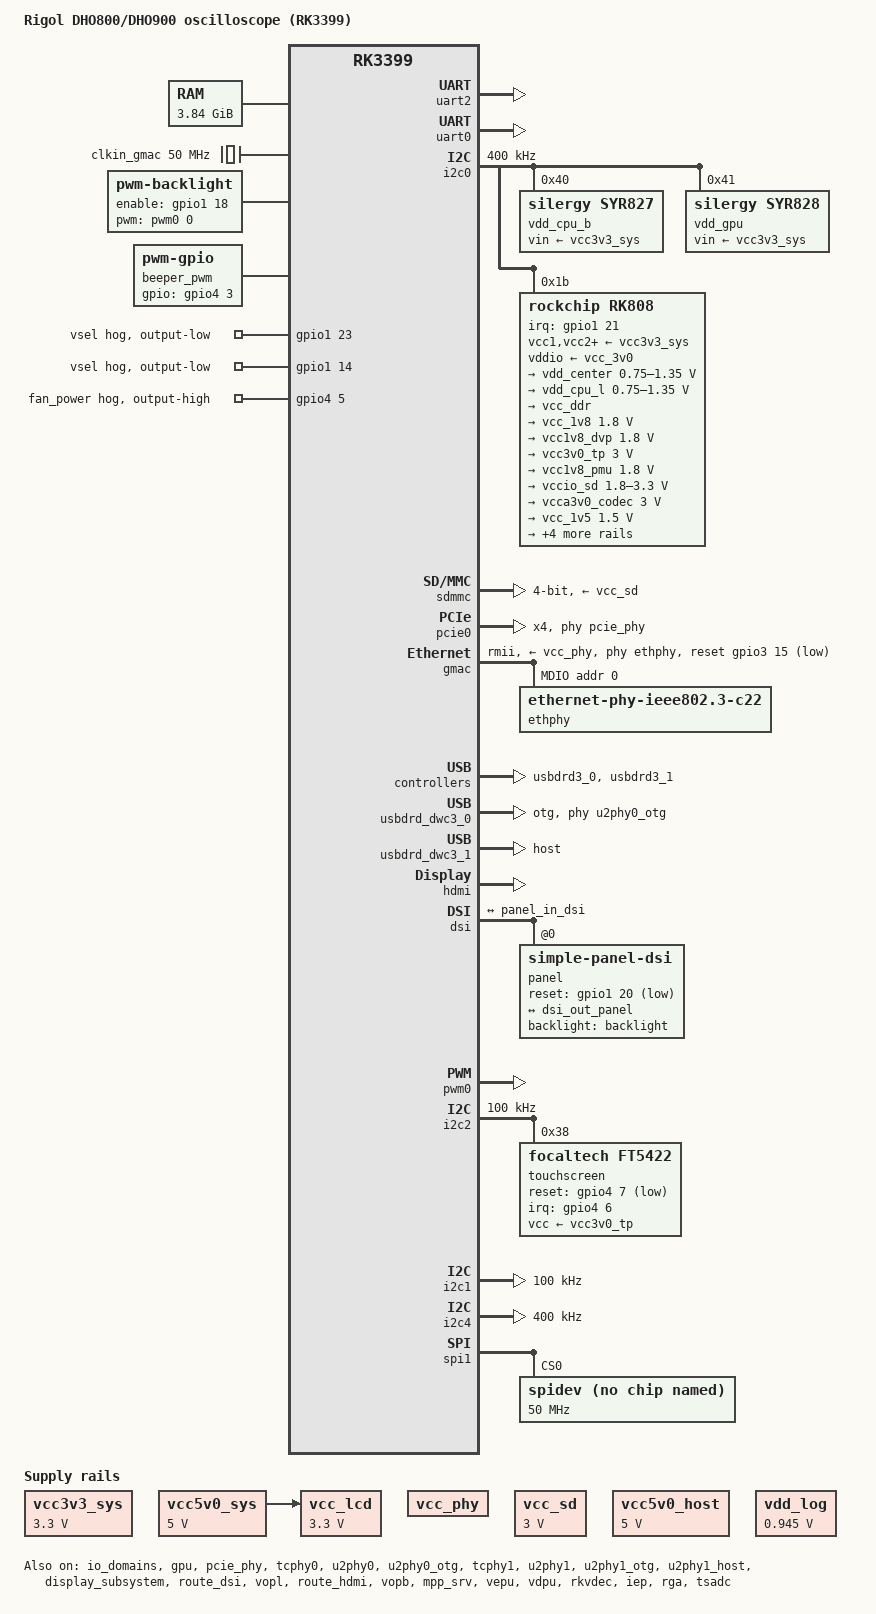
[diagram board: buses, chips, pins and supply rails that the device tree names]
// SPDX-License-Identifier: (GPL-2.0+ OR MIT)
/*
 * Rigol DHO800 / DHO900 oscilloscope board (Rockchip RK3399).
 *
 * Copyright (C) 2026 Olympian LED, Inc.
 *
 * GPIO pins are numbered within their bank (A0-A7 = 0-7, B0-B7 = 8-15, C0-C7 = 16-23,
 * D0-D7 = 24-31); in rockchip,pins, function 0 is GPIO.
 */

/dts-v1/;

#include <dt-bindings/gpio/gpio.h>
#include <dt-bindings/interrupt-controller/irq.h>
#include "rk3399.dtsi"
#include "rk3399-linux.dtsi"

/ {
	model = "Rigol DHO800/DHO900 oscilloscope (RK3399)";
	compatible = "rigol,dho900", "rockchip,rk3399";

	aliases {
		mmc0 = &sdmmc;
		mmc1 = &sdhci;

		spi1 = &spi1;
		spi2 = &spi2;
	};

	chosen {
		bootargs = "earlycon=uart8250,mmio32,0xff1a0000 console=ttyS2,115200n8 panic=10 rootwait";
		stdout-path = "serial2:115200n8";
	};

	memory {
		device_type = "memory";
		reg = <0x0 0x00200000 0x0 0x08200000>,
		      <0x0 0x0a200000 0x0 0xede00000>;
	};

	reserved-memory {
		trust_os: trust-os@8400000 {
			reg = <0x0 0x08400000 0x0 0x01e00000>;
			no-map;
		};

		ramoops@110000 {
			compatible = "ramoops";
			reg = <0x0 0x110000 0x0 0xe0000>;
			record-size = <0x20000>;
			console-size = <0x80000>;
			ftrace-size = <0x0>;
			pmsg-size = <0x40000>;
		};
	};

	vcc3v3_sys: vcc3v3-sys {
		compatible = "regulator-fixed";
		regulator-name = "vcc3v3_sys";
		regulator-always-on;
		regulator-boot-on;
		regulator-min-microvolt = <3300000>;
		regulator-max-microvolt = <3300000>;
	};

	vcc5v0_sys: vcc5v0-sys {
		compatible = "regulator-fixed";
		regulator-name = "vcc5v0_sys";
		regulator-always-on;
		regulator-boot-on;
		regulator-min-microvolt = <5000000>;
		regulator-max-microvolt = <5000000>;
	};

	vcc_phy: vcc-phy-regulator {
		compatible = "regulator-fixed";
		regulator-name = "vcc_phy";
		regulator-always-on;
		regulator-boot-on;
	};

	vcc_sd: vcc-sd {
		compatible = "regulator-fixed";
		regulator-name = "vcc_sd";
		regulator-always-on;
		regulator-boot-on;
		regulator-min-microvolt = <3000000>;
		regulator-max-microvolt = <3000000>;
	};

	vcc5v0_host: vcc5v0-host-regulator {
		compatible = "regulator-fixed";
		regulator-name = "vcc5v0_host";
		regulator-always-on;
		regulator-boot-on;
		regulator-min-microvolt = <5000000>;
		regulator-max-microvolt = <5000000>;
	};

	vcc_lcd: vcc-lcd {
		compatible = "regulator-fixed";
		regulator-name = "vcc_lcd";
		regulator-boot-on;
		regulator-min-microvolt = <3300000>;
		regulator-max-microvolt = <3300000>;
		startup-delay-us = <20000>;
		vin-supply = <&vcc5v0_sys>;
	};

	vdd_log: vdd-log {
		compatible = "regulator-fixed";
		regulator-name = "vdd_log";
		regulator-always-on;
		regulator-boot-on;
		regulator-min-microvolt = <945000>;
		regulator-max-microvolt = <945000>;
	};

	clkin_gmac: external-gmac-clock {
		compatible = "fixed-clock";
		clock-frequency = <50000000>;
		clock-output-names = "clkin_gmac";
		#clock-cells = <0>;
	};

	/* The panel backlight: PWM0, enable on GPIO1_C2. */
	backlight: backlight {
		compatible = "pwm-backlight";
		pwms = <&pwm0 0 25000 0>;
		brightness-levels = <0 255>;
		num-interpolated-steps = <255>;
		default-brightness-level = <255>;
		enable-gpios = <&gpio1 18 GPIO_ACTIVE_HIGH>;
	};

	/* The cooling fan is one on/off line, GPIO4_A5, held on by the fan-power hog (&gpio4). */
	fan: gpio-fan {
		compatible = "gpio-fan";
		gpios = <&gpio4 5 GPIO_ACTIVE_HIGH>;
		gpio-fan,speed-map = <0 0>, <3000 1>;
		#cooling-cells = <2>;
		status = "disabled";
	};

	/* The beeper: a software PWM on GPIO4_A3, driven from userspace through the PWM class. */
	beeper_pwm: pwm-gpio {
		compatible = "pwm-gpio";
		#pwm-cells = <3>;
		gpios = <&gpio4 3 GPIO_ACTIVE_HIGH>;
	};
};

&fiq_debugger {
	status = "disabled";
};

/* UART2: the console, 115200 8N1. */
&uart2 {
	status = "okay";
};

/* UART0: the front-panel controller (keys, knobs, LEDs, power-off). No CTS: GPIO2_C2 is PCIe PERST#. */
&uart0 {
	status = "okay";
};

&reboot_mode {
	/delete-property/ mode-panic;
	/delete-property/ mode-ums;
	mode-bootloader = <0x5242c301>;	/* the boot loader's download mode */
};

&cru {
	assigned-clocks =
		<&cru ACLK_PERIHP>, <&cru ACLK_PERILP0>,
		<&cru HCLK_PERILP1>, <&cru SCLK_SDMMC>,
		<&cru ACLK_EMMC>, <&cru ACLK_CENTER>,
		<&cru HCLK_SD>, <&cru SCLK_VDU_CA>,
		<&cru SCLK_VDU_CORE>, <&cru ACLK_USB3>,
		<&cru FCLK_CM0S>, <&cru ACLK_CCI>,
		<&cru PCLK_ALIVE>, <&cru ACLK_GMAC>,
		<&cru SCLK_CS>, <&cru SCLK_CCI_TRACE>,
		<&cru ARMCLKL>, <&cru ARMCLKB>,
		<&cru PLL_NPLL>, <&cru ACLK_GPU>,
		<&cru PLL_GPLL>, <&cru ACLK_PERIHP>,
		<&cru HCLK_PERIHP>, <&cru PCLK_PERIHP>,
		<&cru ACLK_PERILP0>, <&cru HCLK_PERILP0>,
		<&cru PCLK_PERILP0>, <&cru HCLK_PERILP1>,
		<&cru PCLK_PERILP1>, <&cru SCLK_I2C1>,
		<&cru SCLK_I2C2>, <&cru SCLK_I2C3>,
		<&cru SCLK_I2C5>, <&cru SCLK_I2C6>,
		<&cru SCLK_I2C7>, <&cru SCLK_SPI0>,
		<&cru SCLK_SPI1>, <&cru SCLK_SPI2>,
		<&cru SCLK_SPI4>, <&cru SCLK_SPI5>,
		<&cru ACLK_GIC>, <&cru ACLK_ISP0>,
		<&cru ACLK_ISP1>, <&cru SCLK_VOP0_PWM>,
		<&cru SCLK_VOP1_PWM>, <&cru PCLK_EDP>,
		<&cru ACLK_HDCP>, <&cru ACLK_VIO>,
		<&cru HCLK_SD>, <&cru SCLK_CRYPTO0>,
		<&cru SCLK_CRYPTO1>, <&cru SCLK_EMMC>,
		<&cru ACLK_EMMC>, <&cru ACLK_CENTER>,
		<&cru ACLK_IEP>, <&cru ACLK_RGA>,
		<&cru SCLK_RGA_CORE>, <&cru ACLK_VDU>,
		<&cru ACLK_VCODEC>, <&cru PCLK_DDR>,
		<&cru ACLK_GMAC>, <&cru SCLK_VDU_CA>,
		<&cru SCLK_VDU_CORE>, <&cru ACLK_USB3>,
		<&cru FCLK_CM0S>, <&cru ACLK_CCI>,
		<&cru PCLK_ALIVE>, <&cru SCLK_CS>,
		<&cru SCLK_CCI_TRACE>, <&cru ACLK_VOP0>,
		<&cru HCLK_VOP0>, <&cru ACLK_VOP1>,
		<&cru HCLK_VOP1>;
	assigned-clock-rates =
		<75000000>, <50000000>,
		<50000000>, <50000000>,
		<50000000>, <100000000>,
		<50000000>, <150000000>,
		<150000000>, <150000000>,
		<50000000>, <150000000>,
		<50000000>, <100000000>,
		<75000000>, <75000000>,
		<816000000>, <816000000>,
		<600000000>, <200000000>,
		<800000000>, <150000000>,
		<75000000>, <37500000>,
		<300000000>, <100000000>,
		<50000000>, <100000000>,
		<50000000>, <100000000>,
		<100000000>, <100000000>,
		<100000000>, <100000000>,
		<100000000>, <50000000>,
		<50000000>, <50000000>,
		<50000000>, <50000000>,
		<200000000>, <400000000>,
		<400000000>, <100000000>,
		<100000000>, <100000000>,
		<400000000>, <400000000>,
		<200000000>, <100000000>,
		<200000000>, <200000000>,
		<100000000>, <400000000>,
		<400000000>, <400000000>,
		<400000000>, <300000000>,
		<400000000>, <200000000>,
		<400000000>, <300000000>,
		<300000000>, <300000000>,
		<300000000>, <600000000>,
		<100000000>, <150000000>,
		<150000000>, <400000000>,
		<100000000>, <400000000>,
		<100000000>;
};

&i2c0 {
	clock-frequency = <400000>;
	i2c-scl-rising-time-ns = <160>;
	i2c-scl-falling-time-ns = <30>;
	status = "okay";

	vdd_cpu_b: regulator@40 {
		compatible = "silergy,syr827";
		reg = <0x40>;
		fcs,suspend-voltage-selector = <1>;
		pinctrl-names = "default";
		pinctrl-0 = <&vsel1_gpio>;
		regulator-name = "vdd_cpu_b";
		regulator-min-microvolt = <712500>;
		regulator-max-microvolt = <1500000>;
		regulator-ramp-delay = <1000>;
		regulator-always-on;
		regulator-boot-on;
		vin-supply = <&vcc3v3_sys>;

		regulator-state-mem {
			regulator-off-in-suspend;
		};
	};

	vdd_gpu: regulator@41 {
		compatible = "silergy,syr828";
		reg = <0x41>;
		fcs,suspend-voltage-selector = <1>;
		pinctrl-names = "default";
		pinctrl-0 = <&vsel2_gpio>;
		regulator-name = "vdd_gpu";
		regulator-min-microvolt = <712500>;
		regulator-max-microvolt = <1500000>;
		regulator-ramp-delay = <1000>;
		regulator-always-on;
		regulator-boot-on;
		vin-supply = <&vcc3v3_sys>;

		regulator-state-mem {
			regulator-off-in-suspend;
		};
	};

	rk808: pmic@1b {
		compatible = "rockchip,rk808";
		reg = <0x1b>;
		interrupt-parent = <&gpio1>;
		interrupts = <21 IRQ_TYPE_LEVEL_LOW>;
		pinctrl-names = "default";
		pinctrl-0 = <&pmic_int_l>;
		#clock-cells = <1>;
		clock-output-names = "xin32k", "rk808-clkout2";
		rockchip,system-power-controller;
		wakeup-source;

		vcc1-supply = <&vcc3v3_sys>;
		vcc2-supply = <&vcc3v3_sys>;
		vcc3-supply = <&vcc3v3_sys>;
		vcc4-supply = <&vcc3v3_sys>;
		vcc6-supply = <&vcc3v3_sys>;
		vcc7-supply = <&vcc3v3_sys>;
		vcc8-supply = <&vcc3v3_sys>;
		vcc9-supply = <&vcc3v3_sys>;
		vcc10-supply = <&vcc3v3_sys>;
		vcc11-supply = <&vcc3v3_sys>;
		vcc12-supply = <&vcc3v3_sys>;
		vddio-supply = <&vcc_3v0>;

		regulators {
			vdd_center: DCDC_REG1 {
				regulator-name = "vdd_center";
				regulator-min-microvolt = <750000>;
				regulator-max-microvolt = <1350000>;
				regulator-ramp-delay = <6001>;
				regulator-always-on;
				regulator-boot-on;
				regulator-state-mem {
					regulator-off-in-suspend;
				};
			};

			vdd_cpu_l: DCDC_REG2 {
				regulator-name = "vdd_cpu_l";
				regulator-min-microvolt = <750000>;
				regulator-max-microvolt = <1350000>;
				regulator-ramp-delay = <6001>;
				regulator-always-on;
				regulator-boot-on;
				regulator-state-mem {
					regulator-off-in-suspend;
				};
			};

			vcc_ddr: DCDC_REG3 {
				regulator-name = "vcc_ddr";
				regulator-always-on;
				regulator-boot-on;
				regulator-state-mem {
					regulator-on-in-suspend;
				};
			};

			vcc_1v8: DCDC_REG4 {
				regulator-name = "vcc_1v8";
				regulator-min-microvolt = <1800000>;
				regulator-max-microvolt = <1800000>;
				regulator-always-on;
				regulator-boot-on;
				regulator-state-mem {
					regulator-on-in-suspend;
					regulator-suspend-microvolt = <1800000>;
				};
			};

			vcc1v8_dvp: LDO_REG1 {
				regulator-name = "vcc1v8_dvp";
				regulator-min-microvolt = <1800000>;
				regulator-max-microvolt = <1800000>;
				regulator-always-on;
				regulator-boot-on;
				regulator-state-mem {
					regulator-off-in-suspend;
				};
			};

			vcc3v0_tp: LDO_REG2 {
				regulator-name = "vcc3v0_tp";
				regulator-min-microvolt = <3000000>;
				regulator-max-microvolt = <3000000>;
				regulator-always-on;
				regulator-boot-on;
				regulator-state-mem {
					regulator-off-in-suspend;
				};
			};

			vcc1v8_pmu: LDO_REG3 {
				regulator-name = "vcc1v8_pmu";
				regulator-min-microvolt = <1800000>;
				regulator-max-microvolt = <1800000>;
				regulator-always-on;
				regulator-boot-on;
				regulator-state-mem {
					regulator-on-in-suspend;
					regulator-suspend-microvolt = <1800000>;
				};
			};

			vccio_sd: LDO_REG4 {
				regulator-name = "vccio_sd";
				regulator-min-microvolt = <1800000>;
				regulator-max-microvolt = <3300000>;
				regulator-always-on;
				regulator-boot-on;
				regulator-state-mem {
					regulator-on-in-suspend;
					regulator-suspend-microvolt = <3000000>;
				};
			};

			vcca3v0_codec: LDO_REG5 {
				regulator-name = "vcca3v0_codec";
				regulator-min-microvolt = <3000000>;
				regulator-max-microvolt = <3000000>;
				regulator-always-on;
				regulator-boot-on;
				regulator-state-mem {
					regulator-off-in-suspend;
				};
			};

			vcc_1v5: LDO_REG6 {
				regulator-name = "vcc_1v5";
				regulator-min-microvolt = <1500000>;
				regulator-max-microvolt = <1500000>;
				regulator-always-on;
				regulator-boot-on;
				regulator-state-mem {
					regulator-on-in-suspend;
					regulator-suspend-microvolt = <1500000>;
				};
			};

			vcca1v8_codec: LDO_REG7 {
				regulator-name = "vcca1v8_codec";
				regulator-min-microvolt = <1800000>;
				regulator-max-microvolt = <1800000>;
				regulator-always-on;
				regulator-boot-on;
				regulator-state-mem {
					regulator-off-in-suspend;
				};
			};

			vcc_3v0: LDO_REG8 {
				regulator-name = "vcc_3v0";
				regulator-min-microvolt = <3000000>;
				regulator-max-microvolt = <3000000>;
				regulator-always-on;
				regulator-boot-on;
				regulator-state-mem {
					regulator-on-in-suspend;
					regulator-suspend-microvolt = <3000000>;
				};
			};

			vcc3v3_s3: SWITCH_REG1 {
				regulator-name = "vcc3v3_s3";
				regulator-always-on;
				regulator-boot-on;
				regulator-state-mem {
					regulator-off-in-suspend;
				};
			};

			vcc3v3_s0: SWITCH_REG2 {
				regulator-name = "vcc3v3_s0";
				regulator-always-on;
				regulator-boot-on;
				regulator-state-mem {
					regulator-off-in-suspend;
				};
			};
		};
	};
};

&io_domains {
	bt656-supply = <&vcc_3v0>;
	audio-supply = <&vcc_3v0>;
	sdmmc-supply = <&vccio_sd>;
	gpio1830-supply = <&vcc_3v0>;
	status = "okay";
};

&pmu_io_domains {
	pmu1830-supply = <&vcc_3v0>;
	status = "okay";
};

&cpu_l0 {
	cpu-supply = <&vdd_cpu_l>;
};

&cpu_l1 {
	cpu-supply = <&vdd_cpu_l>;
};

&cpu_l2 {
	cpu-supply = <&vdd_cpu_l>;
};

&cpu_l3 {
	cpu-supply = <&vdd_cpu_l>;
};

&cpu_b0 {
	cpu-supply = <&vdd_cpu_b>;
};

&cpu_b1 {
	cpu-supply = <&vdd_cpu_b>;
};

/* The Mali-T860 MP4: "arm,mali-midgard" binds ARM's Midgard driver, "arm,mali-t860" Panfrost. */
&gpu {
	compatible = "arm,mali-t860", "arm,malit860", "arm,malit86x", "arm,malit8xx", "arm,mali-midgard";
	/delete-property/ upthreshold;
	/delete-property/ downdifferential;
	mali-supply = <&vdd_gpu>;
	status = "okay";
};

/* The root storage is an SD card on the sdmmc controller (mmc0); the eMMC controller is unused. */
&sdmmc {
	bus-width = <4>;
	cap-sd-highspeed;
	cap-mmc-highspeed;
	disable-wp;
	vmmc-supply = <&vcc_sd>;
	vqmmc-supply = <&vccio_sd>;
	pinctrl-names = "default";
	pinctrl-0 = <&sdmmc_clk &sdmmc_cmd &sdmmc_cd &sdmmc_bus4>;
	status = "okay";
};

&sdhci {
	status = "disabled";
};

&emmc_phy {
	status = "disabled";
};

/* PCIe x4 gen2 to the acquisition FPGA, PERST# on GPIO2_C2; the PHY's reference is 100 MHz. */
&pcie_phy {
	#phy-cells = <0>;
	assigned-clocks = <&cru SCLK_PCIEPHY_REF>;
	assigned-clock-parents = <&cru SCLK_PCIEPHY_REF100M>;
	assigned-clock-rates = <100000000>;
	status = "okay";
};

&pcie0 {
	num-lanes = <4>;
	max-link-speed = <2>;
	ep-gpios = <&gpio2 18 GPIO_ACTIVE_HIGH>;
	phys = <&pcie_phy>;
	phy-names = "pcie-phy";
	status = "okay";
};

&gmac {
	phy-mode = "rmii";
	clock_in_out = "input";
	assigned-clocks = <&cru SCLK_RMII_SRC>;
	assigned-clock-parents = <&clkin_gmac>;
	pinctrl-names = "default";
	pinctrl-0 = <&rmii_pins>;
	phy-supply = <&vcc_phy>;
	snps,reset-gpio = <&gpio3 15 GPIO_ACTIVE_LOW>;
	snps,reset-active-low;
	snps,reset-delays-us = <0 10000 50000>;
	tx_delay = <0x1e>;
	rx_delay = <0x16>;
	phy-handle = <&ethphy>;
	status = "okay";

	mdio {
		compatible = "snps,dwmac-mdio";
		#address-cells = <1>;
		#size-cells = <0>;

		ethphy: ethernet-phy@0 {
			compatible = "ethernet-phy-ieee802.3-c22";
			reg = <0>;
		};
	};
};

&tcphy0 {
	status = "okay";
};

&u2phy0 {
	status = "okay";
};

&u2phy0_otg {
	status = "okay";
};

&u2phy0_host {
	status = "disabled";
};

&usbdrd3_0 {
	status = "okay";
};

/*
 * The rear USB DEVICE port (OTG0), wired as the stock firmware wires it: dwc3 dr_mode "otg", the USB2 PHY's extcon,
 * and BOTH PHYs, the USB2 one and the Type-C PHY's USB3 port. The 6.12 dwc3 core takes extcon from its own node
 * (drivers/usb/dwc3/core.c dwc3_get_extcon), not the glue node where the 4.4 BSP read it. maximum-speed stays
 * high-speed: the port is USB-B 2.0, and with the USB3 PHY at SuperSpeed the early bring-up saw a bus reset every
 * ~0.7 s. Measured on the DHO924S, 2026-10-28: "peripheral" on the USB2 PHY alone, with or without the extcon, left
 * the link Disconnected and a PC saw nothing; this pairing reaches "configured" at high speed and the PC enumerates
 * the gadget.
 */
&usbdrd_dwc3_0 {
	dr_mode = "otg";
	extcon = <&u2phy0>;

	maximum-speed = "high-speed";
	phys = <&u2phy0_otg>, <&tcphy0_usb3>;
	phy-names = "usb2-phy", "usb3-phy";
	status = "okay";
};

&tcphy1 {
	status = "okay";
};

&u2phy1 {
	status = "okay";
};

&u2phy1_otg {
	status = "okay";
};

&u2phy1_host {
	phy-supply = <&vcc5v0_host>;
	status = "okay";
};

&usbdrd3_1 {
	status = "okay";
};

&usbdrd_dwc3_1 {
	dr_mode = "host";
	status = "okay";
};

&usb_host0_ehci {
	status = "disabled";
};

&usb_host0_ohci {
	status = "disabled";
};

&usb_host1_ehci {
	status = "disabled";
};

&usb_host1_ohci {
	status = "disabled";
};

&display_subsystem {
	status = "okay";
};

&route_dsi {
	status = "okay";
};

&vopl {
	status = "okay";
};

&vopl_mmu {
	status = "okay";
};

&dsi_in_vopb {
	status = "disabled";
};

&route_hdmi {
	status = "okay";
};

&vopb {
	assigned-clocks = <&cru DCLK_VOP0_DIV>;
	assigned-clock-parents = <&cru PLL_VPLL>;
	status = "okay";
};

&vopb_mmu {
	status = "okay";
};

&hdmi_in_vopl {
	status = "disabled";
};

&hdmi {
	ddc-i2c-scl-high-time-ns = <9625>;
	ddc-i2c-scl-low-time-ns = <10000>;
	status = "okay";
};

&dsi {
	status = "okay";

	panel@0 {
		compatible = "simple-panel-dsi";
		reg = <0>;
		backlight = <&backlight>;
		reset-gpios = <&gpio1 20 GPIO_ACTIVE_LOW>;
		prepare-delay-ms = <10>;
		reset-delay-ms = <20>;
		init-delay-ms = <10>;
		enable-delay-ms = <120>;
		unprepare-delay-ms = <120>;
		dsi,flags = <0xa43>;	/* video, burst, no HBP, no EoT packet, LPM */
		dsi,format = <0>;	/* RGB888 */
		dsi,lanes = <4>;

		panel-init-sequence = [
			15 00 02 e0 00
			15 00 02 e1 93
			15 00 02 e2 65
			15 00 02 e3 f8
			15 00 02 80 03
			15 00 02 e0 01
			15 00 02 00 00
			15 00 02 01 25
			15 00 02 03 00
			15 00 02 04 30
			15 00 02 0c 74
			15 00 02 17 00
			15 00 02 18 c7
			15 00 02 19 01
			15 00 02 1a 00
			15 00 02 1b c7
			15 00 02 1c 01
			15 00 02 24 fe
			15 00 02 37 19
			15 00 02 35 28
			15 00 02 38 05
			15 00 02 39 08
			15 00 02 3a 12
			15 00 02 3c 7e
			15 00 02 3d ff
			15 00 02 3e ff
			15 00 02 3f 7f
			15 00 02 40 06
			15 00 02 41 a0
			15 00 02 43 1e
			15 00 02 44 0b
			15 00 02 55 02
			15 00 02 57 6a
			15 00 02 59 0a
			15 00 02 5a 2e
			15 00 02 5b 1a
			15 00 02 5c 15
			15 00 02 5d 7f
			15 00 02 5e 61
			15 00 02 5f 50
			15 00 02 60 43
			15 00 02 61 3f
			15 00 02 62 32
			15 00 02 63 35
			15 00 02 64 1f
			15 00 02 65 38
			15 00 02 66 36
			15 00 02 67 36
			15 00 02 68 54
			15 00 02 69 42
			15 00 02 6a 48
			15 00 02 6b 39
			15 00 02 6c 34
			15 00 02 6d 26
			15 00 02 6e 14
			15 00 02 6f 02
			15 00 02 70 7f
			15 00 02 71 61
			15 00 02 72 50
			15 00 02 73 43
			15 00 02 74 3f
			15 00 02 75 32
			15 00 02 76 35
			15 00 02 77 1f
			15 00 02 78 38
			15 00 02 79 36
			15 00 02 7a 36
			15 00 02 7b 54
			15 00 02 7c 42
			15 00 02 7d 48
			15 00 02 7e 39
			15 00 02 7f 34
			15 00 02 80 26
			15 00 02 81 14
			15 00 02 82 02
			15 00 02 e0 02
			15 00 02 00 52
			15 00 02 01 5f
			15 00 02 02 5f
			15 00 02 03 50
			15 00 02 04 77
			15 00 02 05 57
			15 00 02 06 5f
			15 00 02 07 4e
			15 00 02 08 4c
			15 00 02 09 5f
			15 00 02 0a 4a
			15 00 02 0b 48
			15 00 02 0c 5f
			15 00 02 0d 46
			15 00 02 0e 44
			15 00 02 0f 40
			15 00 02 10 5f
			15 00 02 11 5f
			15 00 02 12 5f
			15 00 02 13 5f
			15 00 02 14 5f
			15 00 02 15 5f
			15 00 02 16 53
			15 00 02 17 5f
			15 00 02 18 5f
			15 00 02 19 51
			15 00 02 1a 77
			15 00 02 1b 57
			15 00 02 1c 5f
			15 00 02 1d 4f
			15 00 02 1e 4d
			15 00 02 1f 5f
			15 00 02 20 4b
			15 00 02 21 49
			15 00 02 22 5f
			15 00 02 23 47
			15 00 02 24 45
			15 00 02 25 41
			15 00 02 26 5f
			15 00 02 27 5f
			15 00 02 28 5f
			15 00 02 29 5f
			15 00 02 2a 5f
			15 00 02 2b 5f
			15 00 02 2c 13
			15 00 02 2d 1f
			15 00 02 2e 1f
			15 00 02 2f 01
			15 00 02 30 17
			15 00 02 31 17
			15 00 02 32 1f
			15 00 02 33 0d
			15 00 02 34 0f
			15 00 02 35 1f
			15 00 02 36 05
			15 00 02 37 07
			15 00 02 38 1f
			15 00 02 39 09
			15 00 02 3a 0b
			15 00 02 3b 11
			15 00 02 3c 1f
			15 00 02 3d 1f
			15 00 02 3e 1f
			15 00 02 3f 1f
			15 00 02 40 1f
			15 00 02 41 1f
			15 00 02 42 12
			15 00 02 43 1f
			15 00 02 44 1f
			15 00 02 45 00
			15 00 02 46 17
			15 00 02 47 17
			15 00 02 48 1f
			15 00 02 49 0c
			15 00 02 4a 0e
			15 00 02 4b 1f
			15 00 02 4c 04
			15 00 02 4d 06
			15 00 02 4e 1f
			15 00 02 4f 08
			15 00 02 50 0a
			15 00 02 51 10
			15 00 02 52 1f
			15 00 02 53 1f
			15 00 02 54 1f
			15 00 02 55 1f
			15 00 02 56 1f
			15 00 02 57 1f
			15 00 02 58 40
			15 00 02 5b 10
			15 00 02 5c 06
			15 00 02 5d 40
			15 00 02 5e 00
			15 00 02 5f 00
			15 00 02 60 40
			15 00 02 61 03
			15 00 02 62 04
			15 00 02 63 6c
			15 00 02 64 6c
			15 00 02 65 75
			15 00 02 66 08
			15 00 02 67 b4
			15 00 02 68 08
			15 00 02 69 6c
			15 00 02 6a 6c
			15 00 02 6b 0c
			15 00 02 6d 00
			15 00 02 6e 00
			15 00 02 6f 88
			15 00 02 75 bb
			15 00 02 76 00
			15 00 02 77 05
			15 00 02 78 2a
			15 00 02 e0 04
			15 00 02 00 0e
			15 00 02 02 b3
			15 00 02 09 61
			15 00 02 0e 48
			15 00 02 e0 00
			15 00 02 35 00
			05 96 01 11
			05 32 01 29
		];

		panel-exit-sequence = [
			05 32 01 28
			05 64 01 10
		];

		display-timings {
			native-mode = <&dsi_timing0>;

			dsi_timing0: timing0 {
				clock-frequency = <68000000>;
				hactive = <1024>;
				vactive = <600>;
				hfront-porch = <20>;
				hback-porch = <20>;
				hsync-len = <20>;
				vfront-porch = <30>;
				vback-porch = <10>;
				vsync-len = <4>;
				hsync-active = <0>;
				vsync-active = <0>;
				de-active = <0>;
				pixelclk-active = <0>;
			};
		};

		port {
			panel_in_dsi: endpoint {
				remote-endpoint = <&dsi_out_panel>;
			};
		};
	};

	ports {
		#address-cells = <1>;
		#size-cells = <0>;

		port@1 {
			reg = <1>;
			dsi_out_panel: endpoint {
				remote-endpoint = <&panel_in_dsi>;
			};
		};
	};
};

&pwm0 {
	status = "okay";
};

&mpp_srv {
	status = "okay";
};

&vepu {
	status = "okay";
};

&vdpu {
	status = "okay";
};

&vpu_mmu {
	status = "okay";
};

&rkvdec {
	status = "okay";
};

&vdec_mmu {
	status = "okay";
};

&iep {
	status = "okay";
};

&iep_mmu {
	status = "okay";
};

&rga {
	status = "okay";
};

&vpu {
	status = "disabled";
};

&vdec {
	status = "disabled";
};

/* The touch controller, I2C2 at 0x38: interrupt GPIO4_A6, reset GPIO4_A7. */
&i2c2 {
	clock-frequency = <100000>;
	i2c-scl-rising-time-ns = <160>;
	i2c-scl-falling-time-ns = <30>;
	status = "okay";

	touchscreen@38 {
		compatible = "focaltech,ft5422";
		reg = <0x38>;
		interrupt-parent = <&gpio4>;
		interrupts = <6 IRQ_TYPE_EDGE_FALLING>;
		reset-gpios = <&gpio4 7 GPIO_ACTIVE_LOW>;
		vcc-supply = <&vcc3v0_tp>;
		touchscreen-size-x = <1024>;
		touchscreen-size-y = <600>;
	};
};

&i2c1 {
	clock-frequency = <100000>;
	i2c-scl-rising-time-ns = <500>;
	i2c-scl-falling-time-ns = <200>;
	status = "okay";

	adc@37 {
		compatible = "ti,adc128d818";
		reg = <0x37>;
		status = "disabled";
	};
};

&i2c4 {
	clock-frequency = <400000>;
	i2c-scl-rising-time-ns = <160>;
	i2c-scl-falling-time-ns = <30>;
	status = "okay";

	temperature-sensor@1d {
		compatible = "ti,tmp421";
		reg = <0x1d>;
		status = "disabled";
	};

	temperature-sensor@1f {
		compatible = "ti,tmp421";
		reg = <0x1f>;
		status = "disabled";
	};

	temperature-sensor@2a {
		compatible = "ti,tmp421";
		reg = <0x2a>;
		status = "disabled";
	};

	temperature-sensor@4c {
		compatible = "ti,tmp421";
		reg = <0x4c>;
		status = "disabled";
	};

	temperature-sensor@4f {
		compatible = "ti,tmp421";
		reg = <0x4f>;
		status = "disabled";
	};
};

&spi1 {
	status = "okay";

	spidev@0 {
		compatible = "rockchip,spidev";
		reg = <0>;
		spi-max-frequency = <50000000>;
	};
};

&spi2 {
	status = "disabled";

	spidev@0 {
		compatible = "rockchip,spidev";
		reg = <0>;
		spi-max-frequency = <50000000>;
	};
};

&cluster0_opp {
	rockchip,bin-scaling-sel = <0 30  1 34  2 46>;
	rockchip,bin-voltage-sel = <2 20>;
	opp-408000000 { opp-microvolt-L20 = <875000 875000 1250000>; };
	opp-600000000 { opp-microvolt-L20 = <875000 875000 1250000>; };
	opp-816000000 { opp-microvolt-L20 = <900000 900000 1250000>; };
	opp-1008000000 { opp-microvolt-L20 = <975000 975000 1250000>; };
	opp-1416000000 { opp-microvolt-L2 = <1075000 1075000 1250000>; };
};

&cluster1_opp {
	rockchip,bin-scaling-sel = <0 8  1 17  2 30>;
	rockchip,bin-voltage-sel = <2 20>;
	rockchip,pvtm-voltage-sel = <
		0       149000  0
		149001  155000  1
		155001  160000  2
		160001  999999  3
	>;
	opp-408000000 { opp-microvolt-L20 = <875000 875000 1250000>; };
	opp-600000000 { opp-microvolt-L20 = <875000 875000 1250000>; };
	opp-816000000 { opp-microvolt-L20 = <875000 875000 1250000>; };
	opp-1008000000 { opp-microvolt-L20 = <925000 925000 1250000>; };
	opp-1200000000 { opp-microvolt-L20 = <1000000 1000000 1250000>; };
	opp-1416000000 { opp-microvolt-L20 = <1075000 1075000 1250000>; };
	opp-1512000000 {
		opp-hz = /bits/ 64 <1512000000>;
		opp-microvolt = <1100000 1100000 1250000>;
		opp-microvolt-L0 = <1100000 1100000 1250000>;
		opp-microvolt-L1 = <1075000 1075000 1250000>;
		opp-microvolt-L2 = <1050000 1050000 1250000>;
		opp-microvolt-L3 = <1025000 1025000 1250000>;
		opp-microvolt-L4 = <1025000 1025000 1250000>;
		opp-microvolt-L20 = <1150000 1150000 1250000>;
		clock-latency-ns = <40000>;
	};
};

&gpu_opp_table {
	rockchip,bin-voltage-sel = <2 20>;
	opp-200000000 { opp-microvolt-L20 = <875000 875000 1150000>; };
	opp-300000000 { opp-microvolt-L20 = <875000 875000 1150000>; };
	opp-400000000 { opp-microvolt-L20 = <875000 875000 1150000>; };
	opp-600000000 { opp-microvolt-L20 = <975000 975000 1150000>; };
};

/delete-node/ &ramoops;
/delete-node/ &ramoops_mem;

&tsadc {
	rockchip,hw-tshut-mode = <1>;
	rockchip,hw-tshut-polarity = <1>;
	rockchip,hw-tshut-temp = <120000>;
	status = "okay";
};

/*
 * The pin controller's own default state: PCIe PERST# (GPIO2_C2) an input with no pull until the PCIe
 * host takes it, and the front ends' SPI bus pins (GPIO2_B1-B4, SPI2's pins: &spi2 stays disabled) as
 * GPIO with pull-ups, MISO idling high.
 */
&pinctrl {
	pinctrl-names = "default";
	pinctrl-0 = <&pcie_perst_float &afe_spi_pins>;

	pcie {
		pcie_perst_float: pcie-perst-float {
			rockchip,pins = <2 18 0 &pcfg_pull_none>;
		};
	};

	afe-spi {
		afe_spi_pins: afe-spi-pins {
			rockchip,pins = <2 9 0 &pcfg_pull_up>,
					<2 10 0 &pcfg_pull_up>,
					<2 11 0 &pcfg_pull_up>,
					<2 12 0 &pcfg_pull_up>;
		};
	};

	pmic {
		pmic_int_l: pmic-int-l {
			rockchip,pins = <1 21 0 &pcfg_pull_up>;
		};

		vsel1_gpio: vsel1-gpio {
			rockchip,pins = <1 23 0 &pcfg_pull_down>;
		};

		vsel2_gpio: vsel2-gpio {
			rockchip,pins = <1 14 0 &pcfg_pull_down>;
		};
	};
};

/*
 * The board's analog front ends, generator, sample-clock PLL and straps are plain GPIO lines with no
 * kernel driver: userspace drives them through the GPIO character device, by these line names.
 *   hd_code0..3        the board straps (inputs)
 *   afg_in1..5         the generator's control lines; FG_M2C_GPIO its supply (&spdif stays off)
 *   afe1..4            the front ends' DAC gear lines
 *   spi_afe_*          the front ends' SPI bus (four chip selects, active low)
 *   spi_sclk/sdio/le   the LMX2582 PLL's 3-wire bus, write only, latch active high (&pwm3 stays off)
 *   LA_PROBE_DETECT    the logic-analyser probe detect (input)
 * gpio N is bank N / 32, pin N % 32.
 */
&gpio0 {
	gpio-line-names =
		/* A0-A7 */ "", "", "spi_sdio", "spi_sclk", "hd_code0", "power", "spi_le", "",
		/* B0-B7 */ "hd_code1", "", "", "hd_code2", "hd_code3", "", "", "",
		/* C0-C7 */ "", "", "", "", "", "", "", "",
		/* D0-D7 */ "", "", "", "", "", "", "", "";
};

&gpio1 {
	gpio-line-names =
		/* A0-A7 */ "", "", "", "", "", "", "", "",
		/* B0-B7 */ "", "", "", "", "", "", "vsel", "",
		/* C0-C7 */ "", "", "enable", "", "reset", "", "", "vsel",
		/* D0-D7 */ "", "", "", "", "", "", "", "";

	/*
	 * The SYR827 (vdd_cpu_b) and SYR828 (vdd_gpu) VSEL pins, driven low from GPIO probe: VSEL low
	 * selects the VSEL0 register, the one the fan53555 driver programs with
	 * fcs,suspend-voltage-selector = <1>. The driver does not drive the pins itself.
	 */
	vsel1-hog {
		gpio-hog;
		gpios = <23 GPIO_ACTIVE_HIGH>;
		output-low;
		line-name = "vsel";
	};

	vsel2-hog {
		gpio-hog;
		gpios = <14 GPIO_ACTIVE_HIGH>;
		output-low;
		line-name = "vsel";
	};
};

&gpio2 {
	gpio-line-names =
		/* A0-A7 */ "", "", "spi_afe_cs_1", "", "spi_afe_cs_3", "spi_afe_cs_2", "", "",
		/* B0-B7 */ "", "spi_afe_miso", "spi_afe_mosi", "spi_afe_sclk", "spi_afe_cs_0", "", "", "",
		/* C0-C7 */ "", "", "ep", "", "", "", "", "",
		/* D0-D7 */ "", "", "", "", "", "", "", "";
};

&gpio3 {
	gpio-line-names =
		/* A0-A7 */ "", "", "", "", "", "", "", "",
		/* B0-B7 */ "", "", "", "", "", "", "", "mdio-reset",
		/* C0-C7 */ "", "", "", "", "", "", "", "",
		/* D0-D7 */ "LA_PROBE_DETECT", "", "afg_in1", "afg_in2", "afg_in3", "afg_in4", "afg_in5", "";
};

&gpio4 {
	gpio-line-names =
		/* A0-A7 */ "", "", "", "PWM_GPIO", "", "fan_power", "fts_irq_gpio", "fts_reset_gpio",
		/* B0-B7 */ "", "", "", "", "", "", "", "",
		/* C0-C7 */ "", "", "", "", "", "FG_M2C_GPIO", "", "",
		/* D0-D7 */ "", "afe1", "afe2", "", "", "afe3", "afe4", "";

	/* The cooling fan on from GPIO probe. */
	fan-power-hog {
		gpio-hog;
		gpios = <5 GPIO_ACTIVE_HIGH>;
		output-high;
		line-name = "fan_power";
	};
};
